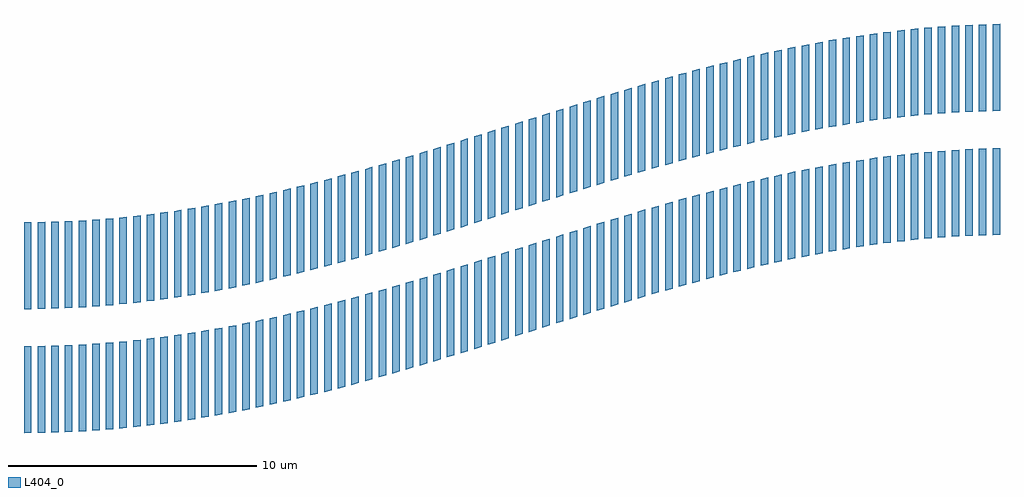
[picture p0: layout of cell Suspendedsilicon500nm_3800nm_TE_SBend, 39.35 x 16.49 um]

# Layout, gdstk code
import gdstk
lib = gdstk.Library(unit=1e-6, precision=1e-09)
def R(c, l, rs):  # rectangles x0, y0, x1, y1
    for r in rs: c.add(gdstk.rectangle(r[:2], r[2:], *l))
def P(c, l, *ps):  # polygons
    for p in ps: c.add(gdstk.Polygon(p, *l))
L404_0 = (404, 0)

suspendedsilicon500nm_38 = lib.new_cell('Suspendedsilicon500nm_3800nm_TE_SBend')
R(suspendedsilicon500nm_38, L404_0, [(0,4.999,0.3,8.5)])
P(suspendedsilicon500nm_38, L404_0, [(22.55,4.757),(22.55,8.26),(22.85,8.352),(22.85,4.849)],
  [(0.55,5.002),(0.55,8.503),(0.85,8.508),(0.85,5.007)],
  [(1.1,5.014),(1.1,8.515),(1.4,8.524),(1.4,5.023)],
  [(23.1,4.926),(23.1,8.429),(23.4,8.52),(23.4,5.017)],
  [(1.65,5.032),(1.65,8.533),(1.95,8.547),(1.95,5.046)],
  [(2.2,5.059),(2.2,8.56),(2.5,8.577),(2.5,5.076)],
  [(2.75,5.093),(2.75,8.594),(3.05,8.616),(3.05,5.115)],
  [(3.3,5.135),(3.3,8.636),(3.6,8.661),(3.6,5.16)],
  [(23.65,5.093),(23.65,8.596),(23.95,8.688),(23.95,5.185)],
  [(3.85,5.183),(3.85,8.684),(4.15,8.714),(4.15,5.213)],
  [(4.4,5.24),(4.4,8.74),(4.7,8.774),(4.7,5.274)],
  [(4.95,5.303),(4.95,8.804),(5.25,8.841),(5.25,5.34)],
  [(24.2,5.261),(24.2,8.76),(24.5,8.848),(24.5,5.349)],
  [(5.5,5.374),(5.5,8.874),(5.8,8.914),(5.8,5.414)],
  [(6.05,5.449),(6.05,8.95),(6.35,8.996),(6.35,5.495)],
  [(24.75,5.422),(24.75,8.922),(25.05,9.012),(25.05,5.512)],
  [(6.6,5.534),(6.6,9.034),(6.9,9.082),(6.9,5.582)],
  [(25.3,5.585),(25.3,9.084),(25.6,9.17),(25.6,5.671)],
  [(7.15,5.625),(7.15,9.125),(7.45,9.175),(7.45,5.675)],
  [(7.7,5.72),(7.7,9.222),(8,9.278),(8,5.776)],
  [(25.85,5.74),(25.85,9.241),(26.15,9.325),(26.15,5.824)],
  [(8.25,5.823),(8.25,9.325),(8.55,9.384),(8.55,5.882)],
  [(26.4,5.895),(26.4,9.396),(26.7,9.48),(26.7,5.979)],
  [(8.8,5.932),(8.8,9.434),(9.1,9.494),(9.1,5.992)],
  [(9.35,6.046),(9.35,9.548),(9.65,9.614),(9.65,6.112)],
  [(26.95,6.047),(26.95,9.548),(27.25,9.627),(27.25,6.126)],
  [(9.9,6.166),(9.9,9.667),(10.2,9.736),(10.2,6.235)],
  [(27.5,6.192),(27.5,9.693),(27.8,9.772),(27.8,6.271)],
  [(10.45,6.293),(10.45,9.794),(10.75,9.863),(10.75,6.362)],
  [(28.05,6.336),(28.05,9.837),(28.35,9.914),(28.35,6.413)],
  [(11,6.423),(11,9.924),(11.3,9.998),(11.3,6.497)],
  [(28.6,6.474),(28.6,9.975),(28.9,10.047),(28.9,6.546)],
  [(11.55,6.558),(11.55,10.059),(11.85,10.134),(11.85,6.633)],
  [(29.15,6.607),(29.15,10.108),(29.45,10.18),(29.45,6.679)],
  [(12.1,6.698),(12.1,10.199),(12.4,10.277),(12.4,6.776)],
  [(29.7,6.739),(29.7,10.24),(30,10.307),(30,6.806)],
  [(12.65,6.841),(12.65,10.342),(12.95,10.423),(12.95,6.922)],
  [(30.25,6.858),(30.25,10.36),(30.55,10.426),(30.55,6.924)],
  [(30.8,6.977),(30.8,10.479),(31.1,10.544),(31.1,7.042)],
  [(13.2,6.991),(13.2,10.492),(13.5,10.574),(13.5,7.073)],
  [(31.35,7.093),(31.35,10.595),(31.65,10.652),(31.65,7.15)],
  [(13.75,7.143),(13.75,10.642),(14.05,10.727),(14.05,7.228)],
  [(31.9,7.196),(31.9,10.698),(32.2,10.754),(32.2,7.252)],
  [(32.45,7.298),(32.45,10.8),(32.75,10.856),(32.75,7.354)],
  [(14.3,7.299),(14.3,10.798),(14.6,10.884),(14.6,7.385)],
  [(33,7.397),(33,10.898),(33.3,10.943),(33.3,7.442)],
  [(33.55,7.48),(33.55,10.981),(33.85,11.026),(33.85,7.525)],
  [(14.85,7.456),(14.85,10.955),(15.15,11.043),(15.15,7.544)],
  [(34.1,7.563),(34.1,11.064),(34.4,11.11),(34.4,7.609)],
  [(34.65,7.641),(34.65,11.142),(34.95,11.176),(34.95,7.675)],
  [(15.4,7.619),(15.4,11.118),(15.7,11.206),(15.7,7.707)],
  [(35.2,7.704),(35.2,11.205),(35.5,11.24),(35.5,7.739)],
  [(35.75,7.767),(35.75,11.268),(36.05,11.303),(36.05,7.802)],
  [(36.3,7.825),(36.3,11.326),(36.6,11.348),(36.6,7.847)],
  [(15.95,7.779),(15.95,11.282),(16.25,11.373),(16.25,7.87)],
  [(36.85,7.866),(36.85,11.367),(37.15,11.389),(37.15,7.888)],
  [(37.4,7.907),(37.4,11.408),(37.7,11.43),(37.7,7.929)],
  [(37.95,7.943),(37.95,11.444),(38.25,11.454),(38.25,7.953)],
  [(38.5,7.961),(38.5,11.462),(38.8,11.472),(38.8,7.971)],
  [(39.05,7.979),(39.05,11.48),(39.35,11.489),(39.35,7.988)],
  [(16.5,7.946),(16.5,11.449),(16.8,11.54),(16.8,8.037)],
  [(17.05,8.113),(17.05,11.616),(17.35,11.709),(17.35,8.206)],
  [(19.8,8.971),(19.8,12.473),(20.1,12.567),(20.1,9.065)],
  [(20.35,9.144),(20.35,12.646),(20.65,12.74),(20.65,9.238)],
  [(20.9,9.317),(20.9,12.819),(21.2,12.912),(21.2,9.41)],
  [(21.45,9.488),(21.45,12.99),(21.75,13.083),(21.75,9.581)],
  [(22,9.659),(22,13.161),(22.3,13.254),(22.3,9.752)],
  [(22.55,9.828),(22.55,13.33),(22.85,13.421),(22.85,9.919)],
  [(23.1,9.995),(23.1,13.497),(23.4,13.589),(23.4,10.087)],
  [(23.65,10.164),(23.65,13.662),(23.95,13.75),(23.95,10.252)],
  [(24.2,10.326),(24.2,13.824),(24.5,13.912),(24.5,10.414)],
  [(24.75,10.488),(24.75,13.986),(25.05,14.073),(25.05,10.575)],
  [(25.3,10.645),(25.3,14.145),(25.6,14.229),(25.6,10.729)],
  [(25.85,10.8),(25.85,14.298),(26.15,14.383),(26.15,10.885)],
  [(26.4,10.954),(26.4,14.454),(26.7,14.533),(26.7,11.033)],
  [(26.95,11.099),(26.95,14.599),(27.25,14.678),(27.25,11.178)],
  [(27.5,11.243),(27.5,14.743),(27.8,14.822),(27.8,11.322)],
  [(28.05,11.385),(28.05,14.885),(28.35,14.957),(28.35,11.457)],
  [(28.6,11.518),(28.6,15.018),(28.9,15.09),(28.9,11.59)],
  [(29.15,11.65),(29.15,15.15),(29.45,15.222),(29.45,11.722)],
  [(29.7,11.775),(29.7,15.276),(30,15.342),(30,11.841)],
  [(30.25,11.894),(30.25,15.395),(30.55,15.46),(30.55,11.959)],
  [(30.8,12.013),(30.8,15.514),(31.1,15.575),(31.1,12.074)],
  [(31.35,12.12),(31.35,15.621),(31.65,15.678),(31.65,12.177)],
  [(31.9,12.222),(31.9,15.723),(32.2,15.78),(32.2,12.279)],
  [(32.45,12.325),(32.45,15.825),(32.75,15.877),(32.75,12.377)],
  [(33,12.415),(33,15.915),(33.3,15.96),(33.3,12.46)],
  [(33.55,12.498),(33.55,15.998),(33.85,16.043),(33.85,12.543)],
  [(34.1,12.581),(34.1,16.08),(34.4,16.123),(34.4,12.624)],
  [(34.65,12.652),(34.65,16.152),(34.95,16.186),(34.95,12.686)],
  [(35.2,12.715),(35.2,16.215),(35.5,16.249),(35.5,12.749)],
  [(35.75,12.778),(35.75,16.277),(36.05,16.311),(36.05,12.812)],
  [(36.3,12.829),(36.3,16.329),(36.6,16.352),(36.6,12.852)],
  [(36.85,12.87),(36.85,16.37),(37.15,16.393),(37.15,12.893)],
  [(37.4,12.912),(37.4,16.412),(37.7,16.434),(37.7,12.934)],
  [(37.95,12.945),(37.95,16.445),(38.25,16.454),(38.25,12.954)],
  [(38.5,12.962),(38.5,16.462),(38.8,16.472),(38.8,12.972)],
  [(39.05,12.98),(39.05,16.48),(39.35,16.49),(39.35,12.99)],
  [(17.6,8.284),(17.6,11.786),(17.9,11.879),(17.9,8.377)],
  [(18.15,8.455),(18.15,11.957),(18.45,12.05),(18.45,8.548)],
  [(18.7,8.626),(18.7,12.128),(19,12.222),(19,8.72)],
  [(19.25,8.799),(19.25,12.301),(19.55,12.395),(19.55,8.893)],
  [(12.65,1.791),(12.65,5.291),(12.95,5.37),(12.95,1.87)],
  [(13.2,1.935),(13.2,5.435),(13.5,5.517),(13.5,2.017)],
  [(13.75,2.086),(13.75,5.586),(14.05,5.668),(14.05,2.168)],
  [(14.3,2.239),(14.3,5.737),(14.6,5.822),(14.6,2.324)],
  [(14.85,2.396),(14.85,5.894),(15.15,5.98),(15.15,2.482)],
  [(15.4,2.553),(15.4,6.052),(15.7,6.142),(15.7,2.643)],
  [(15.95,2.716),(15.95,6.215),(16.25,6.305),(16.25,2.806)],
  [(16.5,2.878),(16.5,6.38),(16.8,6.471),(16.8,2.969)],
  [(11.55,1.513),(11.55,5.013),(11.85,5.087),(11.85,1.587)],
  [(12.1,1.649),(12.1,5.149),(12.4,5.226),(12.4,1.726)],
  [(17.05,3.045),(17.05,6.547),(17.35,6.639),(17.35,3.137)],
  [(17.6,3.213),(17.6,6.715),(17.9,6.808),(17.9,3.306)],
  [(18.15,3.383),(18.15,6.885),(18.45,6.978),(18.45,3.476)],
  [(18.7,3.554),(18.7,7.056),(19,7.15),(19,3.648)],
  [(19.25,3.726),(19.25,7.228),(19.55,7.322),(19.55,3.82)],
  [(0,0),(0,3.5),(0.3,3.501),(0.3,0.001)],
  [(0.55,0.003),(0.55,3.503),(0.85,3.509),(0.85,0.009)],
  [(1.1,0.015),(1.1,3.515),(1.4,3.524),(1.4,0.024)],
  [(1.65,0.033),(1.65,3.533),(1.95,3.546),(1.95,0.046)],
  [(2.2,0.059),(2.2,3.559),(2.5,3.576),(2.5,0.076)],
  [(2.75,0.092),(2.75,3.592),(3.05,3.613),(3.05,0.113)],
  [(3.3,0.132),(3.3,3.632),(3.6,3.656),(3.6,0.156)],
  [(3.85,0.179),(3.85,3.679),(4.15,3.707),(4.15,0.207)],
  [(4.4,0.233),(4.4,3.732),(4.7,3.766),(4.7,0.267)],
  [(4.95,0.294),(4.95,3.794),(5.25,3.831),(5.25,0.331)],
  [(5.5,0.362),(5.5,3.861),(5.8,3.901),(5.8,0.402)],
  [(6.05,0.437),(6.05,3.936),(6.35,3.98),(6.35,0.481)],
  [(6.6,0.518),(6.6,4.018),(6.9,4.064),(6.9,0.564)],
  [(7.15,0.606),(7.15,4.105),(7.45,4.155),(7.45,0.656)],
  [(7.7,0.697),(7.7,4.198),(8,4.253),(8,0.752)],
  [(8.25,0.796),(8.25,4.297),(8.55,4.354),(8.55,0.853)],
  [(8.8,0.903),(8.8,4.404),(9.1,4.463),(9.1,0.962)],
  [(9.35,1.012),(9.35,4.513),(9.65,4.579),(9.65,1.078)],
  [(9.9,1.131),(9.9,4.632),(10.2,4.697),(10.2,1.196)],
  [(10.45,1.253),(10.45,4.753),(10.75,4.823),(10.75,1.323)],
  [(11,1.38),(11,4.88),(11.3,4.952),(11.3,1.452)],
  [(20.35,4.071),(20.35,7.573),(20.65,7.667),(20.65,4.165)],
  [(20.9,4.244),(20.9,7.746),(21.2,7.84),(21.2,4.338)],
  [(21.45,4.416),(21.45,7.918),(21.75,8.011),(21.75,4.509)],
  [(22,4.587),(22,8.089),(22.3,8.182),(22.3,4.68)],
  [(19.8,3.898),(19.8,7.4),(20.1,7.494),(20.1,3.992)])

lib.write_gds('Suspendedsilicon500nm_3800nm_TE_SBend.gds')
